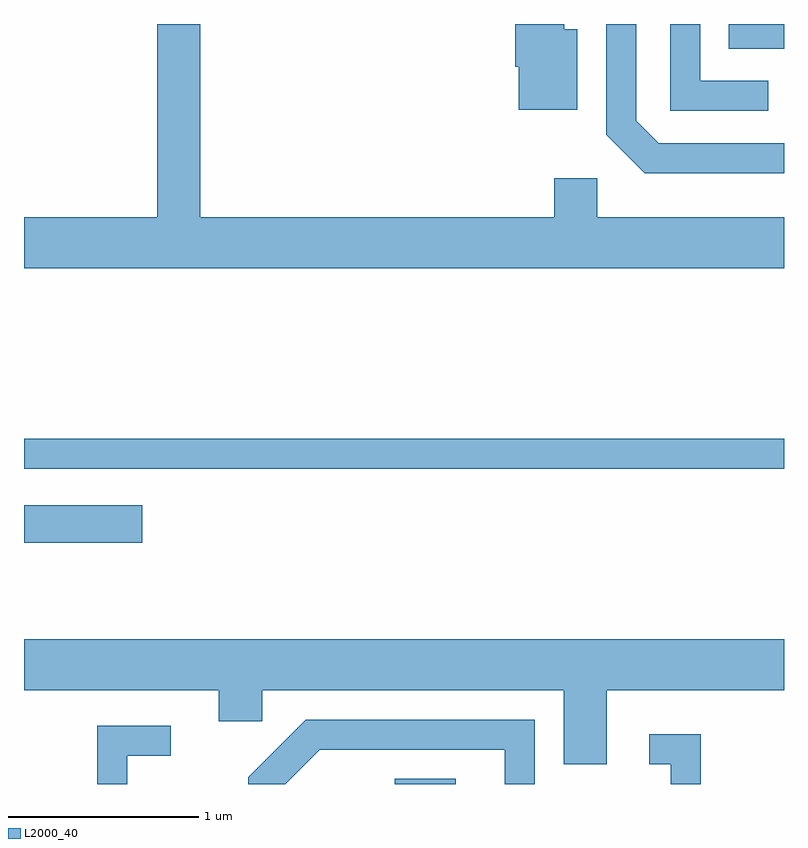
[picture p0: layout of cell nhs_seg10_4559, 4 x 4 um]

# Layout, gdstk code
import gdstk
lib = gdstk.Library(unit=1e-6, precision=1e-09)
def R(c, l, rs):  # rectangles x0, y0, x1, y1
    for r in rs: c.add(gdstk.rectangle(r[:2], r[2:], *l))
def P(c, l, *ps):  # polygons
    for p in ps: c.add(gdstk.Polygon(p, *l))
L2000_40 = (2000, 40)

nhs_seg10_4559 = lib.new_cell('nhs_seg10_4559')
R(nhs_seg10_4559, L2000_40, [(321.561,2124.522,321.883,2124.549), (319.611,2125.791,320.234,2125.989), (319.611,2126.181,323.611,2126.339), (323.321,2128.391,323.611,2128.522)])
P(nhs_seg10_4559, L2000_40, [(323.611,2127.504),(322.629,2127.504),(322.629,2127.709),(322.401,2127.709),(322.401,2127.504),(320.539,2127.504),(320.539,2128.522),(320.311,2128.522),(320.311,2127.504),(319.611,2127.504),(319.611,2127.236),(323.611,2127.236)],
  [(323.611,2127.894),(322.952,2127.894),(322.834,2128.012),(322.834,2128.522),(322.676,2128.522),(322.676,2127.939),(322.879,2127.736),(323.611,2127.736)],
  [(322.524,2128.494),(322.454,2128.494),(322.454,2128.522),(322.196,2128.522),(322.196,2128.296),(322.216,2128.296),(322.216,2128.071),(322.524,2128.071)],
  [(323.528,2128.224),(323.169,2128.224),(323.169,2128.522),(323.011,2128.522),(323.011,2128.066),(323.528,2128.066)],
  [(322.679,2125.016),(323.611,2125.016),(323.611,2125.284),(319.611,2125.284),(319.611,2125.016),(320.636,2125.016),(320.636,2124.851),(320.864,2124.851),(320.864,2125.016),(322.451,2125.016),(322.451,2124.626),(322.679,2124.626)],
  [(321.167,2124.701),(322.141,2124.701),(322.141,2124.522),(322.299,2124.522),(322.299,2124.859),(321.094,2124.859),(320.791,2124.557),(320.791,2124.522),(320.987,2124.522)],
  [(320.154,2124.671),(320.383,2124.671),(320.383,2124.829),(319.996,2124.829),(319.996,2124.522),(320.154,2124.522)],
  [(323.174,2124.784),(322.903,2124.784),(322.903,2124.626),(323.016,2124.626),(323.016,2124.522),(323.174,2124.522)])

lib.write_gds('nhs_seg10_4559.gds')
